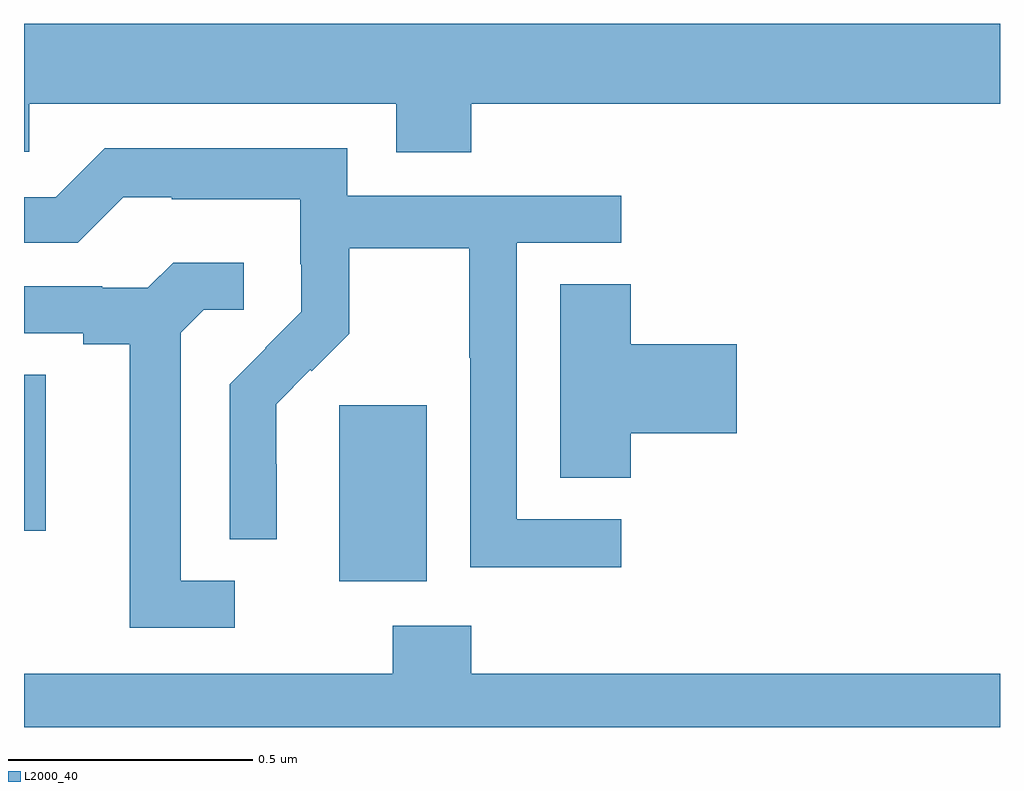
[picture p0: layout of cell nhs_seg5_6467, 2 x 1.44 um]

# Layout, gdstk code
import gdstk
lib = gdstk.Library(unit=1e-6, precision=1e-09)
def R(c, l, rs):  # rectangles x0, y0, x1, y1
    for r in rs: c.add(gdstk.rectangle(r[:2], r[2:], *l))
def P(c, l, *ps):  # polygons
    for p in ps: c.add(gdstk.Polygon(p, *l))
L2000_40 = (2000, 40)

nhs_seg5_6467 = lib.new_cell('nhs_seg5_6467')
R(nhs_seg5_6467, L2000_40, [(196.646,873.098,196.825,873.459), (196,873.201,196.045,873.521)])
P(nhs_seg5_6467, L2000_40, [(196.916,874.076),(198,874.076),(198,874.24),(196,874.24),(196,873.978),(196.011,873.978),(196.011,874.076),(196.763,874.076),(196.763,873.977),(196.916,873.977)],
  [(197.224,873.225),(197.01,873.225),(197.01,873.792),(197.224,873.792),(197.224,873.888),(196.662,873.888),(196.662,873.985),(196.165,873.985),(196.065,873.885),(196,873.885),(196,873.792),(196.11,873.792),(196.203,873.885),(196.303,873.885),(196.303,873.881),(196.566,873.881),(196.566,873.747),(196.568,873.747),(196.568,873.65),(196.494,873.576),(196.495,873.575),(196.422,873.502),(196.422,873.184),(196.518,873.184),(196.518,873.338),(196.517,873.338),(196.517,873.461),(196.587,873.531),(196.59,873.528),(196.667,873.605),(196.667,873.78),(196.912,873.78),(196.912,873.556),(196.914,873.556),(196.914,873.127),(197.224,873.127)],
  [(196.432,873.099),(196.321,873.099),(196.321,873.607),(196.368,873.654),(196.45,873.654),(196.45,873.751),(196.306,873.751),(196.254,873.699),(196.16,873.699),(196.16,873.702),(196,873.702),(196,873.606),(196.121,873.606),(196.121,873.584),(196.217,873.584),(196.217,873.003),(196.432,873.003)],
  [(197.243,873.401),(197.461,873.401),(197.461,873.584),(197.243,873.584),(197.243,873.707),(197.099,873.707),(197.099,873.31),(197.243,873.31)],
  [(198,872.908),(196.916,872.908),(196.916,873.007),(196.756,873.007),(196.756,872.908),(196,872.908),(196,872.799),(198,872.799)])

lib.write_gds('nhs_seg5_6467.gds')
